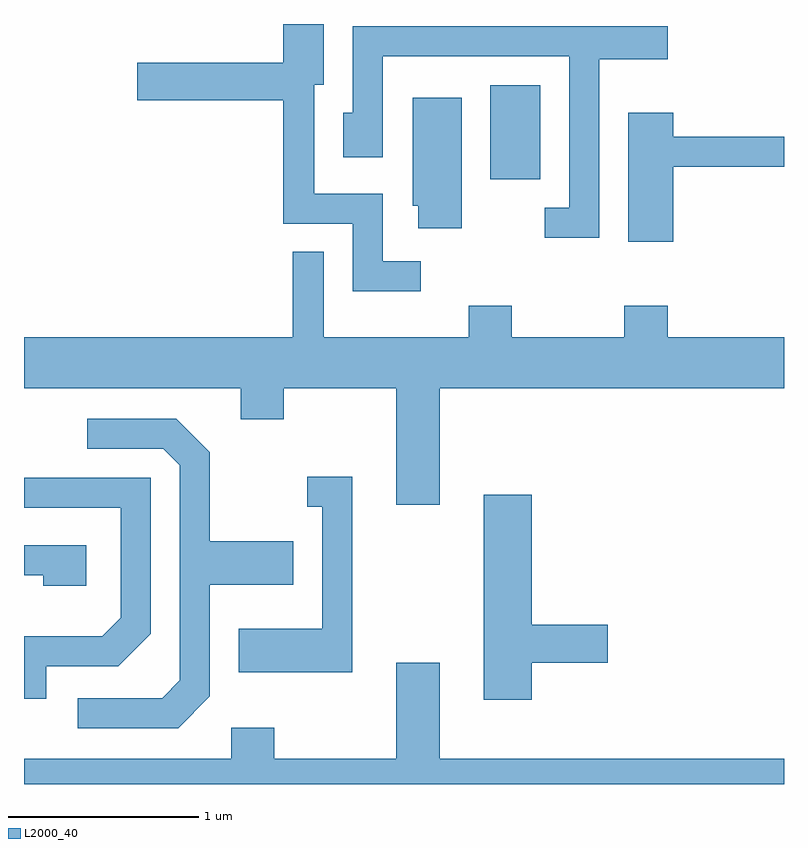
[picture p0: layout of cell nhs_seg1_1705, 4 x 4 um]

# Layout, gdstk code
import gdstk
lib = gdstk.Library(unit=1e-6, precision=1e-09)
def R(c, l, rs):  # rectangles x0, y0, x1, y1
    for r in rs: c.add(gdstk.rectangle(r[:2], r[2:], *l))
def P(c, l, *ps):  # polygons
    for p in ps: c.add(gdstk.Polygon(p, *l))
L2000_40 = (2000, 40)

nhs_seg1_1705 = lib.new_cell('nhs_seg1_1705')
R(nhs_seg1_1705, L2000_40, [(240.066,902.896,240.329,903.389)])
P(nhs_seg1_1705, L2000_40, [(239.698,902.464),(239.499,902.464),(239.499,902.819),(239.139,902.819),(239.139,903.391),(239.189,903.391),(239.189,903.712),(238.976,903.712),(238.976,903.509),(238.206,903.509),(238.206,903.311),(238.976,903.311),(238.976,902.661),(239.341,902.661),(239.341,902.306),(239.698,902.306)],
  [(240.639,903.526),(240.999,903.526),(240.999,903.699),(239.341,903.699),(239.341,903.244),(239.291,903.244),(239.291,903.011),(239.499,903.011),(239.499,903.541),(240.481,903.541),(240.481,902.744),(240.353,902.744),(240.353,902.586),(240.639,902.586)],
  [(239.914,903.324),(239.656,903.324),(239.656,902.756),(239.686,902.756),(239.686,902.636),(239.914,902.636)],
  [(241.029,902.961),(241.611,902.961),(241.611,903.119),(241.029,903.119),(241.029,903.244),(240.791,903.244),(240.791,902.566),(241.029,902.566)],
  [(239.799,901.796),(241.611,901.796),(241.611,902.064),(240.999,902.064),(240.999,902.229),(240.771,902.229),(240.771,902.064),(240.179,902.064),(240.179,902.229),(239.951,902.229),(239.951,902.064),(239.189,902.064),(239.189,902.513),(239.026,902.513),(239.026,902.064),(237.611,902.064),(237.611,901.796),(238.751,901.796),(238.751,901.631),(238.979,901.631),(238.979,901.796),(239.571,901.796),(239.571,901.181),(239.799,901.181)],
  [(238.589,900.174),(238.589,900.761),(239.029,900.761),(239.029,900.989),(238.589,900.989),(238.589,901.457),(238.412,901.634),(237.943,901.634),(237.943,901.476),(238.344,901.476),(238.431,901.389),(238.431,900.257),(238.339,900.164),(237.893,900.164),(237.893,900.006),(238.422,900.006)],
  [(239.339,901.329),(239.103,901.329),(239.103,901.171),(239.181,901.171),(239.181,900.529),(238.741,900.529),(238.741,900.301),(239.339,900.301)],
  [(237.729,900.331),(238.107,900.331),(238.279,900.504),(238.279,901.324),(237.611,901.324),(237.611,901.166),(238.121,901.166),(238.121,900.587),(238.024,900.489),(237.611,900.489),(237.611,900.161),(237.729,900.161)],
  [(240.284,900.351),(240.684,900.351),(240.684,900.549),(240.284,900.549),(240.284,901.234),(240.031,901.234),(240.031,900.156),(240.284,900.156)],
  [(237.939,900.969),(237.611,900.969),(237.611,900.811),(237.711,900.811),(237.711,900.756),(237.939,900.756)],
  [(241.611,899.844),(239.799,899.844),(239.799,900.349),(239.571,900.349),(239.571,899.844),(238.929,899.844),(238.929,900.009),(238.701,900.009),(238.701,899.844),(237.611,899.844),(237.611,899.712),(241.611,899.712)])

lib.write_gds('nhs_seg1_1705.gds')
